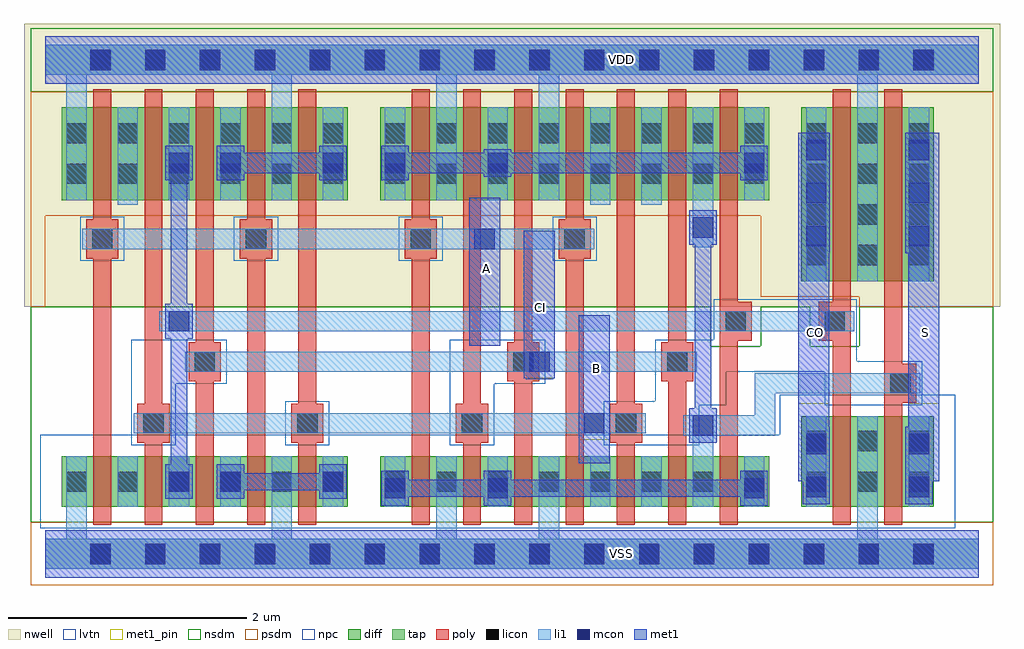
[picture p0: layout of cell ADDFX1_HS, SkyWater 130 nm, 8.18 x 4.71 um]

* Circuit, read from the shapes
.subckt ADDFX1_HS A B CI CO S VDD VSS
XM1 n1 A VSS VSS sky130_fd_pr__nfet_01v8_lvt w=0.425 l=0.15
XM2 n2 B n1 VSS sky130_fd_pr__nfet_01v8_lvt w=0.425 l=0.15
XM3 n3 CI n2 VSS sky130_fd_pr__nfet_01v8_lvt w=0.425 l=0.15
XM4 VSS A n3 VSS sky130_fd_pr__nfet_01v8_lvt w=0.425 l=0.15
XM5 n3 B VSS VSS sky130_fd_pr__nfet_01v8_lvt w=0.425 l=0.15
XM6 VSS A n4 VSS sky130_fd_pr__nfet_01v8_lvt w=0.425 l=0.15
XM7 n4 B VSS VSS sky130_fd_pr__nfet_01v8_lvt w=0.425 l=0.15
XM8 VSS CI n4 VSS sky130_fd_pr__nfet_01v8_lvt w=0.425 l=0.15
XM9 n5 A VSS VSS sky130_fd_pr__nfet_01v8_lvt w=0.425 l=0.15
XM10 n6 B n5 VSS sky130_fd_pr__nfet_01v8_lvt w=0.425 l=0.15
XM11 n7 CI n6 VSS sky130_fd_pr__nfet_01v8_lvt w=0.425 l=0.15
XM12 n4 n2 n7 VSS sky130_fd_pr__nfet_01v8_lvt w=0.425 l=0.15
XM13 VSS n2 CO VSS sky130_fd_pr__nfet_01v8_lvt w=0.76 l=0.15
XM14 S n7 VSS VSS sky130_fd_pr__nfet_01v8_lvt w=0.76 l=0.15
XM15 n8 A VDD VDD sky130_fd_pr__pfet_01v8 w=0.78 l=0.15
XM16 n2 B n8 VDD sky130_fd_pr__pfet_01v8 w=0.78 l=0.15
XM17 n9 CI n2 VDD sky130_fd_pr__pfet_01v8 w=0.78 l=0.15
XM18 VDD A n9 VDD sky130_fd_pr__pfet_01v8 w=0.78 l=0.15
XM19 n9 B VDD VDD sky130_fd_pr__pfet_01v8 w=0.78 l=0.15
XM20 VDD A n10 VDD sky130_fd_pr__pfet_01v8 w=0.78 l=0.15
XM21 n10 B VDD VDD sky130_fd_pr__pfet_01v8 w=0.78 l=0.15
XM22 VDD CI n10 VDD sky130_fd_pr__pfet_01v8 w=0.78 l=0.15
XM23 n11 A VDD VDD sky130_fd_pr__pfet_01v8 w=0.78 l=0.15
XM24 n12 B n11 VDD sky130_fd_pr__pfet_01v8 w=0.78 l=0.15
XM25 n7 CI n12 VDD sky130_fd_pr__pfet_01v8 w=0.78 l=0.15
XM26 n10 n2 n7 VDD sky130_fd_pr__pfet_01v8 w=0.78 l=0.15
XM27 VDD n2 CO VDD sky130_fd_pr__pfet_01v8 w=1.46 l=0.15
XM28 S n7 VDD VDD sky130_fd_pr__pfet_01v8 w=1.46 l=0.15
.ends

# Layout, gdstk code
import gdstk
lib = gdstk.Library(unit=1e-6, precision=1e-09)
def R(c, l, rs):  # rectangles x0, y0, x1, y1
    for r in rs: c.add(gdstk.rectangle(r[:2], r[2:], *l))
def A(c, l, x, y, w, h, nx, ny, dx, dy):  # array of equal rectangles
    R(c, l, [(x+i*dx, y+j*dy, x+i*dx+w, y+j*dy+h) for i in range(nx) for j in range(ny)])
def P(c, l, *ps):  # polygons
    for p in ps: c.add(gdstk.Polygon(p, *l))
nwell = (64, 20)
diff = (65, 20)
tap = (65, 44)
poly = (66, 20)
licon = (66, 44)
li1 = (67, 20)
mcon = (67, 44)
met1_pin = (68, 16)
met1 = (68, 20)
nsdm = (93, 44)
psdm = (94, 20)
npc = (95, 20)
lvtn = (125, 44)

l1m1_c_cdns_750721774070 = lib.new_cell('L1M1_C_CDNS_750721774070')
R(l1m1_c_cdns_750721774070, li1, [(-0.085,-0.145,0.085,0.165)])
R(l1m1_c_cdns_750721774070, mcon, [(-0.085,-0.085,0.085,0.085)])
R(l1m1_c_cdns_750721774070, met1, [(-0.115,-0.145,0.115,0.145)])

l1m1_c_cdns_750721774071 = lib.new_cell('L1M1_C_CDNS_750721774071')
R(l1m1_c_cdns_750721774071, li1, [(-0.085,-0.165,0.085,0.165)])
R(l1m1_c_cdns_750721774071, mcon, [(-0.085,-0.085,0.085,0.085)])
R(l1m1_c_cdns_750721774071, met1, [(-0.115,-0.115,0.115,0.115)])

l1m1_c_cdns_750721774072 = lib.new_cell('L1M1_C_CDNS_750721774072')
R(l1m1_c_cdns_750721774072, li1, [(-0.085,-0.165,0.085,0.165)])
R(l1m1_c_cdns_750721774072, mcon, [(-0.085,-0.085,0.085,0.085)])
R(l1m1_c_cdns_750721774072, met1, [(-0.115,-0.145,0.115,0.145)])

pyl1con_c_cdns_750721774 = lib.new_cell('PYL1CON_C_CDNS_750721774073')
R(pyl1con_c_cdns_750721774, poly, [(-0.135,-0.165,0.135,0.165)])
R(pyl1con_c_cdns_750721774, licon, [(-0.085,-0.085,0.085,0.085)])
R(pyl1con_c_cdns_750721774, npc, [(-0.185,-0.185,0.185,0.185)])

l1m1_c_cdns_750721774074 = lib.new_cell('L1M1_C_CDNS_750721774074')
R(l1m1_c_cdns_750721774074, li1, [(-0.165,-0.085,0.165,0.085)])
R(l1m1_c_cdns_750721774074, mcon, [(-0.085,-0.085,0.085,0.085)])
R(l1m1_c_cdns_750721774074, met1, [(-0.115,-0.145,0.115,0.145)])

licondiff_c_cdns_7507217 = lib.new_cell('LICONDIFF_C_CDNS_750721774075')
R(licondiff_c_cdns_7507217, diff, [(-0.125,-0.145,0.125,0.145)])
R(licondiff_c_cdns_7507217, licon, [(-0.085,-0.085,0.085,0.085), (-0.085,-0.085,0.085,0.085)])

l1m1_c_cdns_750721774076 = lib.new_cell('L1M1_C_CDNS_750721774076')
R(l1m1_c_cdns_750721774076, li1, [(-0.085,-0.345,0.085,0.345)])
R(l1m1_c_cdns_750721774076, mcon, [(-0.085,-0.265,0.085,-0.095), (-0.085,0.095,0.085,0.265)])
R(l1m1_c_cdns_750721774076, met1, [(-0.115,-0.325,0.115,0.325)])

l1m1_c_cdns_750721774077 = lib.new_cell('L1M1_C_CDNS_750721774077')
R(l1m1_c_cdns_750721774077, li1, [(-0.085,-0.525,0.085,0.525)])
A(l1m1_c_cdns_750721774077, mcon, -0.085, -0.445, 0.17, 0.17, 1, 3, 0, 0.36)
R(l1m1_c_cdns_750721774077, met1, [(-0.115,-0.505,0.115,0.505)])

addfx1_hs = lib.new_cell('ADDFX1_HS')
A(addfx1_hs, nwell, -0.045, 2.785, 1.04, 1.14, 3, 1, 0.86, 0)
R(addfx1_hs, nwell, [(-0.18,2.07,8,4.305), (6.155,2.105,7.195,3.925), (6.795,2.105,7.625,3.925), (0.595,2.785,1.385,3.925), (1.455,2.785,2.245,3.925), (2.625,2.785,3.665,3.925), (3.265,2.785,4.055,3.925), (3.485,2.785,4.485,3.925), (3.915,2.785,4.915,3.925), (4.345,2.785,5.385,3.925), (4.985,2.785,5.775,3.925), (5.205,2.785,6.245,3.925), (-0.18,3.875,8,4.445)])
A(addfx1_hs, diff, 0.4, 0.395, 0.15, 0.425, 5, 1, 0.43, 0)
A(addfx1_hs, diff, 0.995, 0.395, 0.265, 0.425, 3, 1, 0.43, 0)
A(addfx1_hs, diff, 3.07, 0.395, 0.15, 0.425, 7, 1, 0.43, 0)
A(addfx1_hs, diff, 0.4, 2.965, 0.15, 0.78, 5, 1, 0.43, 0)
A(addfx1_hs, diff, 3.07, 2.965, 0.15, 0.78, 7, 1, 0.43, 0)
A(addfx1_hs, diff, 3.65, 2.965, 0.225, 0.78, 3, 1, 0.43, 0)
A(addfx1_hs, diff, 3.665, 2.965, 0.265, 0.78, 3, 1, 0.43, 0)
R(addfx1_hs, diff, [(0.135,0.395,0.4,0.82), (0.55,0.395,0.815,0.82), (0.775,0.395,0.83,0.82), (0.98,0.395,1.035,0.82), (1.41,0.395,1.635,0.82), (1.84,0.395,2.065,0.82), (2.27,0.395,2.535,0.82), (2.805,0.395,3.07,0.82), (3.22,0.395,3.485,0.82), (3.445,0.395,3.5,0.82), (3.65,0.395,3.705,0.82), (3.665,0.395,3.93,0.82), (4.08,0.395,4.305,0.82), (4.095,0.395,4.36,0.82), (4.51,0.395,4.775,0.82), (4.565,0.395,4.79,0.82), (4.94,0.395,5.165,0.82), (4.955,0.395,5.22,0.82), (5.37,0.395,5.635,0.82), (5.595,0.395,5.65,0.82), (5.8,0.395,6.065,0.82), (6.335,0.395,6.6,1.155), (6.6,0.395,6.75,1.155), (6.75,0.395,6.975,1.155), (6.765,0.395,7.03,1.155), (7.03,0.395,7.18,1.155), (7.18,0.395,7.445,1.155), (6.335,2.285,6.6,3.745), (6.6,2.285,6.75,3.745), (6.75,2.285,7.015,3.745), (6.975,2.285,7.03,3.745), (7.03,2.285,7.18,3.745), (7.18,2.285,7.445,3.745), (0.135,2.965,0.4,3.745), (0.55,2.965,0.815,3.745), (0.775,2.965,0.83,3.745), (0.98,2.965,1.205,3.745), (0.995,2.965,1.26,3.745), (1.41,2.965,1.675,3.745), (1.635,2.965,1.69,3.745), (1.84,2.965,2.065,3.745), (1.855,2.965,2.12,3.745), (2.27,2.965,2.535,3.745), (2.805,2.965,3.07,3.745), (3.22,2.965,3.485,3.745), (3.445,2.965,3.5,3.745), (4.94,2.965,5.205,3.745), (5.165,2.965,5.22,3.745), (5.37,2.965,5.595,3.745), (5.385,2.965,5.65,3.745), (5.8,2.965,6.065,3.745)])
A(addfx1_hs, poly, 0.4, 0.245, 0.15, 0.055, 5, 2, 0.43, 0.67)
A(addfx1_hs, poly, 3.07, 0.245, 0.15, 0.055, 7, 2, 0.43, 0.67)
A(addfx1_hs, poly, 0.4, 0.3, 0.15, 0.095, 5, 2, 0.43, 0.52)
A(addfx1_hs, poly, 3.07, 0.3, 0.15, 0.095, 7, 2, 0.43, 0.52)
A(addfx1_hs, poly, 0.4, 0.395, 0.15, 0.425, 5, 1, 0.43, 0)
A(addfx1_hs, poly, 3.07, 0.395, 0.15, 0.425, 7, 1, 0.43, 0)
A(addfx1_hs, poly, 4.79, 2.815, 0.15, 0.055, 3, 1, 0.43, 0)
A(addfx1_hs, poly, 0.4, 2.87, 0.15, 0.095, 5, 2, 0.43, 0.875)
A(addfx1_hs, poly, 3.07, 2.87, 0.15, 0.095, 7, 2, 0.43, 0.875)
A(addfx1_hs, poly, 0.4, 2.965, 0.15, 0.78, 5, 1, 0.43, 0)
A(addfx1_hs, poly, 3.07, 2.965, 0.15, 0.78, 7, 1, 0.43, 0)
A(addfx1_hs, poly, 0.4, 3.84, 0.15, 0.055, 5, 1, 0.43, 0)
A(addfx1_hs, poly, 3.07, 3.84, 0.15, 0.055, 7, 1, 0.43, 0)
R(addfx1_hs, poly, [(6.6,0.245,6.75,0.3), (7.03,0.245,7.18,0.3), (6.6,0.3,6.75,0.395), (7.03,0.3,7.18,0.395), (6.6,0.395,6.75,1.155), (7.03,0.395,7.18,1.155), (6.6,1.155,6.75,1.25), (7.03,1.155,7.18,1.25), (6.6,1.25,6.75,1.305), (7.03,1.25,7.18,1.305), (6.6,2.135,6.75,2.19), (7.03,2.135,7.18,2.19), (6.6,2.19,6.75,2.285), (7.03,2.19,7.18,2.285), (6.6,2.285,6.75,3.745), (7.03,2.285,7.18,3.745), (0.4,2.805,0.55,2.87), (1.69,2.805,1.84,2.87), (3.07,2.805,3.22,2.87), (4.36,2.805,4.51,2.87), (0.83,2.815,0.98,2.87), (1.26,2.815,1.41,2.87), (2.12,2.815,2.27,2.87), (3.5,2.815,3.65,2.87), (3.93,2.815,4.08,2.87), (6.6,3.745,6.75,3.84), (7.03,3.745,7.18,3.84), (6.6,3.84,6.75,3.895), (7.03,3.84,7.18,3.895)])
A(addfx1_hs, licon, 0.375, -0.085, 0.17, 0.17, 16, 2, 0.46, 4.14)
A(addfx1_hs, licon, 0.175, 0.52, 0.17, 0.17, 4, 1, 0.43, 0)
A(addfx1_hs, licon, 2.845, 0.52, 0.17, 0.17, 4, 1, 0.43, 0)
A(addfx1_hs, licon, 4.135, 0.52, 0.17, 0.17, 5, 1, 0.43, 0)
A(addfx1_hs, licon, 6.375, 2.42, 0.17, 0.17, 3, 4, 0.43, 0.34)
A(addfx1_hs, licon, 0.175, 3.1, 0.17, 0.17, 3, 2, 0.43, 0.34)
A(addfx1_hs, licon, 1.035, 3.1, 0.17, 0.17, 3, 2, 0.43, 0.34)
A(addfx1_hs, licon, 2.845, 3.1, 0.17, 0.17, 3, 2, 0.43, 0.34)
A(addfx1_hs, licon, 4.135, 3.1, 0.17, 0.17, 4, 2, 0.43, 0.34)
R(addfx1_hs, licon, [(1.465,0.52,1.635,0.69), (1.895,0.52,2.065,0.69), (1.895,0.52,2.065,0.69), (2.325,0.52,2.495,0.69), (6.375,0.52,6.545,0.69), (6.805,0.52,6.975,0.69), (6.805,0.52,6.975,0.69), (7.235,0.52,7.405,0.69), (6.375,0.86,6.545,1.03), (6.805,0.86,6.975,1.03), (6.805,0.86,6.975,1.03), (7.235,0.86,7.405,1.03), (1.895,3.1,2.065,3.27), (2.325,3.1,2.495,3.27), (3.705,3.1,3.875,3.27), (4.135,3.1,4.305,3.27), (5.425,3.1,5.595,3.27), (5.855,3.1,6.025,3.27), (1.895,3.44,2.065,3.61), (2.325,3.44,2.495,3.61), (3.705,3.44,3.875,3.61), (4.135,3.44,4.305,3.61), (5.425,3.44,5.595,3.61), (5.855,3.44,6.025,3.61)])
A(addfx1_hs, li1, 0.175, 0.395, 0.17, 0.425, 4, 1, 0.43, 0)
A(addfx1_hs, li1, 2.845, 0.395, 0.17, 0.425, 4, 1, 0.43, 0)
A(addfx1_hs, li1, 4.135, 0.395, 0.17, 0.425, 5, 1, 0.43, 0)
A(addfx1_hs, li1, 6.375, 2.285, 0.17, 1.46, 3, 1, 0.43, 0)
A(addfx1_hs, li1, 0.175, 2.965, 0.17, 0.78, 3, 1, 0.43, 0)
A(addfx1_hs, li1, 1.035, 2.965, 0.17, 0.78, 3, 1, 0.43, 0)
A(addfx1_hs, li1, 2.845, 2.965, 0.17, 0.78, 3, 1, 0.43, 0)
A(addfx1_hs, li1, 4.135, 2.965, 0.17, 0.78, 4, 1, 0.43, 0)
R(addfx1_hs, li1, [(1.465,0.395,1.635,0.82), (1.895,0.395,2.065,0.82), (1.895,0.395,2.065,0.82), (2.325,0.395,2.495,0.82), (6.375,0.395,6.545,1.155), (6.805,0.395,6.975,1.155), (6.805,0.395,6.975,1.155), (7.235,0.395,7.405,1.155), (1.895,2.965,2.065,3.745), (2.325,2.965,2.495,3.745), (3.705,2.965,3.875,3.745), (4.135,2.965,4.305,3.745), (5.425,2.965,5.595,3.745), (5.855,2.965,6.025,3.745)])
A(addfx1_hs, mcon, 0.375, -0.085, 0.17, 0.17, 16, 2, 0.46, 4.14)
R(addfx1_hs, met1_pin, [(4.47,0.955,4.73,2), (6.31,1.26,6.57,3.53), (7.23,1.26,7.49,3.53), (4.01,1.47,4.27,2.71), (3.55,1.745,3.81,2.985)])
R(addfx1_hs, nsdm, [(-0.005,0.265,0.955,0.95), (0.765,0.265,1.045,0.95), (0.855,0.265,1.645,0.95), (1.285,0.265,2.075,0.95), (1.715,0.265,2.675,0.95), (2.665,0.265,3.625,0.95), (3.435,0.265,3.715,0.95), (3.525,0.265,4.315,0.95), (3.955,0.265,4.915,0.95), (4.555,0.265,5.175,0.95), (4.815,0.265,5.775,0.95), (5.585,0.265,6.205,0.95), (6.195,0.265,6.985,1.285), (6.625,0.265,7.585,1.285), (-0.125,3.875,7.945,4.405), (-0.125,3.93,7.945,4.35)])
P(addfx1_hs, nsdm, [(7.945,2.07),(6.82,2.07),(6.82,1.74),(6.41,1.74),(6.41,2.07),(5.995,2.07),(5.995,1.74),(5.575,1.74),(5.575,2.07),(-0.125,2.07),(-0.125,0.265),(7.945,0.265)])
A(addfx1_hs, psdm, -0.005, 2.835, 0.96, 1.04, 3, 1, 0.86, 0)
R(addfx1_hs, psdm, [(-0.125,-0.265,7.945,0.265), (-0.125,-0.21,7.945,0.21), (6.195,2.155,7.155,3.875), (6.965,2.155,7.585,3.875), (0.765,2.835,1.215,3.875), (1.625,2.835,2.075,3.875), (2.665,2.835,3.625,3.875), (3.435,2.835,3.885,3.875), (3.525,2.835,4.315,3.875), (3.955,2.835,4.745,3.875), (4.385,2.835,5.345,3.875), (5.155,2.835,5.605,3.875), (5.245,2.835,6.205,3.875)])
P(addfx1_hs, psdm, [(7.945,3.875),(-0.125,3.875),(-0.125,2.07),(0,2.07),(0,2.835),(5.995,2.835),(5.995,2.155),(6.82,2.155),(6.82,2.07),(7.945,2.07)])
P(addfx1_hs, npc, [(4.19,1.795),(3.39,1.795),(3.39,0.91),(3.76,0.91),(3.76,1.425),(4.19,1.425)],
  [(7.35,1.615),(6.8,1.615),(6.8,2.135),(5.6,2.135),(5.6,1.795),(5.11,1.795),(5.11,1.28),(4.68,1.28),(4.68,0.91),(5.48,0.91),(5.48,1.245),(5.705,1.245),(5.705,1.525),(6.53,1.525),(6.53,1.245),(7.35,1.245)],
  [(1.52,1.795),(0.72,1.795),(0.72,0.91),(1.09,0.91),(1.09,1.425),(1.52,1.425)])
R(addfx1_hs, lvtn, [(-0.045,0.215,0.995,1), (0.595,0.215,1.215,1), (0.815,0.215,1.815,1), (1.245,0.215,2.245,1), (1.675,0.215,2.715,1), (2.625,0.215,3.665,1), (3.265,0.215,3.885,1), (3.485,0.215,4.485,1), (3.915,0.215,4.955,1), (4.385,0.215,5.345,1), (4.775,0.215,5.815,1), (5.415,0.215,6.245,1), (6.155,0.215,7.155,1.335), (6.585,0.215,7.625,1.335)])
addfx1_hs.add(gdstk.FlexPath([(7.105,2.135),(7.105,1.145)], 0.15, ends="flush", simple_path=True, layer=66, datatype=20))  # poly
addfx1_hs.add(gdstk.FlexPath([(6.675,2.135),(6.675,1.305)], 0.15, ends="flush", simple_path=True, layer=66, datatype=20))  # poly
addfx1_hs.add(gdstk.FlexPath([(5.725,2.815),(5.725,0.97)], 0.15, ends="flush", simple_path=True, layer=66, datatype=20))  # poly
addfx1_hs.add(gdstk.FlexPath([(5.295,0.97),(5.295,2.815)], 0.15, ends="flush", simple_path=True, layer=66, datatype=20))  # poly
addfx1_hs.add(gdstk.FlexPath([(4.865,2.815),(4.865,1.165)], 0.15, ends="flush", simple_path=True, layer=66, datatype=20))  # poly
addfx1_hs.add(gdstk.FlexPath([(4.435,0.97),(4.435,2.775)], 0.15, ends="flush", simple_path=True, layer=66, datatype=20))  # poly
addfx1_hs.add(gdstk.FlexPath([(4.005,2.815),(4.005,0.97)], 0.15, ends="flush", simple_path=True, layer=66, datatype=20))  # poly
addfx1_hs.add(gdstk.FlexPath([(3.575,2.815),(3.575,1.165)], 0.15, ends="flush", simple_path=True, layer=66, datatype=20))  # poly
addfx1_hs.add(gdstk.FlexPath([(3.145,0.97),(3.145,2.775)], 0.15, ends="flush", simple_path=True, layer=66, datatype=20))  # poly
addfx1_hs.add(gdstk.FlexPath([(2.195,2.815),(2.195,1.165)], 0.15, ends="flush", simple_path=True, layer=66, datatype=20))  # poly
addfx1_hs.add(gdstk.FlexPath([(1.765,0.97),(1.765,2.775)], 0.15, ends="flush", simple_path=True, layer=66, datatype=20))  # poly
addfx1_hs.add(gdstk.FlexPath([(1.335,2.815),(1.335,0.97)], 0.15, ends="flush", simple_path=True, layer=66, datatype=20))  # poly
addfx1_hs.add(gdstk.FlexPath([(0.905,2.815),(0.905,1.165)], 0.15, ends="flush", simple_path=True, layer=66, datatype=20))  # poly
addfx1_hs.add(gdstk.FlexPath([(0.475,2.775),(0.475,0.97)], 0.15, ends="flush", simple_path=True, layer=66, datatype=20))  # poly
addfx1_hs.add(gdstk.FlexPath([(4.22,0),(6.89,0)], 0.25, ends=(0.085, 0.085), simple_path=True, layer=67, datatype=20))  # li1
addfx1_hs.add(gdstk.FlexPath([(6.89,0.59),(6.89,0)], 0.17, ends=(0, 0.125), simple_path=True, layer=67, datatype=20))  # li1
addfx1_hs.add(gdstk.FlexPath([(3.36,0),(4.22,0)], 0.25, ends=(0.085, 0.085), simple_path=True, layer=67, datatype=20))  # li1
addfx1_hs.add(gdstk.FlexPath([(4.22,0.59),(4.22,0)], 0.17, ends=(0, 0.125), simple_path=True, layer=67, datatype=20))  # li1
addfx1_hs.add(gdstk.FlexPath([(6.89,0),(7.82,0)], 0.25, ends=(0.085, 0), simple_path=True, layer=67, datatype=20))  # li1
addfx1_hs.add(gdstk.FlexPath([(0,4.14),(7.82,4.14)], 0.25, ends="flush", simple_path=True, layer=67, datatype=20))  # li1
addfx1_hs.add(gdstk.FlexPath([(5.08,0.395),(5.08,0.82)], 0.17, ends="flush", simple_path=True, layer=67, datatype=20))  # li1
addfx1_hs.add(gdstk.FlexPath([(4.65,0.395),(4.65,0.82)], 0.17, ends="flush", simple_path=True, layer=67, datatype=20))  # li1
addfx1_hs.add(gdstk.FlexPath([(0.69,0.395),(0.69,0.82)], 0.17, ends="flush", simple_path=True, layer=67, datatype=20))  # li1
addfx1_hs.add(gdstk.FlexPath([(5.08,2.925),(5.08,3.55)], 0.17, ends="flush", simple_path=True, layer=67, datatype=20))  # li1
addfx1_hs.add(gdstk.FlexPath([(4.65,2.925),(4.65,3.55)], 0.17, ends="flush", simple_path=True, layer=67, datatype=20))  # li1
addfx1_hs.add(gdstk.FlexPath([(0.69,2.925),(0.69,3.55)], 0.17, ends="flush", simple_path=True, layer=67, datatype=20))  # li1
addfx1_hs.add(gdstk.FlexPath([(0.31,2.64),(4.6,2.64)], 0.17, ends="flush", simple_path=True, layer=67, datatype=20))  # li1
addfx1_hs.add(gdstk.FlexPath([(5.03,1.095),(0.74,1.095)], 0.17, ends="flush", simple_path=True, layer=67, datatype=20))  # li1
addfx1_hs.add(gdstk.FlexPath([(1.17,1.61),(5.46,1.61)], 0.17, ends="flush", simple_path=True, layer=67, datatype=20))  # li1
addfx1_hs.add(gdstk.FlexPath([(7.33,1.43),(6.03,1.43),(6.03,1.075),(5.51,1.075),(5.51,0.82)], 0.17, ends="flush", simple_path=True, layer=67, datatype=20))  # li1
addfx1_hs.add(gdstk.FlexPath([(6.78,1.95),(1.12,1.95)], 0.17, ends="flush", simple_path=True, layer=67, datatype=20))  # li1
addfx1_hs.add(gdstk.FlexPath([(5.51,2.735),(5.51,2.965)], 0.17, ends="flush", simple_path=True, layer=67, datatype=20))  # li1
addfx1_hs.add(gdstk.FlexPath([(0.26,3.55),(0.26,4.135)], 0.17, ends="flush", simple_path=True, layer=67, datatype=20))  # li1
addfx1_hs.add(gdstk.FlexPath([(1.98,3.55),(1.98,4.135)], 0.17, ends="flush", simple_path=True, layer=67, datatype=20))  # li1
addfx1_hs.add(gdstk.FlexPath([(3.36,3.55),(3.36,4.13)], 0.17, ends="flush", simple_path=True, layer=67, datatype=20))  # li1
addfx1_hs.add(gdstk.FlexPath([(4.22,3.55),(4.22,4.135)], 0.17, ends="flush", simple_path=True, layer=67, datatype=20))  # li1
addfx1_hs.add(gdstk.FlexPath([(6.89,3.55),(6.89,4.13)], 0.17, ends="flush", simple_path=True, layer=67, datatype=20))  # li1
addfx1_hs.add(gdstk.FlexPath([(3.36,0.59),(3.36,0)], 0.17, ends=(0, 0.125), simple_path=True, layer=67, datatype=20))  # li1
addfx1_hs.add(gdstk.FlexPath([(0.26,0),(1.98,0)], 0.25, ends=(0.085, 0.085), simple_path=True, layer=67, datatype=20))  # li1
addfx1_hs.add(gdstk.FlexPath([(1.98,0.59),(1.98,0)], 0.17, ends=(0, 0.125), simple_path=True, layer=67, datatype=20))  # li1
addfx1_hs.add(gdstk.FlexPath([(0,0),(0.26,0)], 0.25, ends=(0, 0.085), simple_path=True, layer=67, datatype=20))  # li1
addfx1_hs.add(gdstk.FlexPath([(0.26,0.59),(0.26,0)], 0.17, ends=(0, 0.125), simple_path=True, layer=67, datatype=20))  # li1
addfx1_hs.add(gdstk.FlexPath([(1.98,0),(3.36,0)], 0.25, ends=(0.085, 0.085), simple_path=True, layer=67, datatype=20))  # li1
addfx1_hs.add(gdstk.FlexPath([(1.05,3.275),(1.225,3.275)], 0.17, ends="flush", simple_path=True, layer=68, datatype=20))  # met1
addfx1_hs.add(gdstk.FlexPath([(0,0),(7.82,0)], 0.4, ends="flush", simple_path=True, layer=68, datatype=20))  # met1
addfx1_hs.add(gdstk.FlexPath([(0,4.14),(7.82,4.14)], 0.4, ends="flush", simple_path=True, layer=68, datatype=20))  # met1
addfx1_hs.add(gdstk.FlexPath([(3.68,2.985),(3.68,1.745)], 0.26, ends="flush", simple_path=True, layer=68, datatype=20))  # met1
addfx1_hs.add(gdstk.FlexPath([(4.14,1.47),(4.14,2.71)], 0.26, ends="flush", simple_path=True, layer=68, datatype=20))  # met1
addfx1_hs.add(gdstk.FlexPath([(6.44,0.61),(6.44,3.53)], 0.26, ends="flush", simple_path=True, layer=68, datatype=20))  # met1
addfx1_hs.add(gdstk.FlexPath([(5.51,1.205),(5.51,2.735)], 0.14, ends="flush", simple_path=True, layer=68, datatype=20))  # met1
addfx1_hs.add(gdstk.FlexPath([(1.12,0.605),(1.12,0.8)], 0.14, ends="flush", simple_path=True, layer=68, datatype=20))  # met1
addfx1_hs.add(gdstk.FlexPath([(1.12,0.8),(1.12,3.235)], 0.14, ends=(0, 0.085), simple_path=True, layer=68, datatype=20))  # met1
addfx1_hs.add(gdstk.FlexPath([(5.94,0.55),(2.93,0.55)], 0.14, ends="flush", simple_path=True, layer=68, datatype=20))  # met1
addfx1_hs.add(gdstk.FlexPath([(2.41,0.605),(1.55,0.605)], 0.14, ends="flush", simple_path=True, layer=68, datatype=20))  # met1
addfx1_hs.add(gdstk.FlexPath([(6,3.275),(2.82,3.275)], 0.17, ends="flush", simple_path=True, layer=68, datatype=20))  # met1
addfx1_hs.add(gdstk.FlexPath([(1.435,3.275),(2.525,3.275)], 0.17, ends="flush", simple_path=True, layer=68, datatype=20))  # met1
addfx1_hs.add(gdstk.FlexPath([(7.36,0.61),(7.36,3.53)], 0.26, ends="flush", simple_path=True, layer=68, datatype=20))  # met1
addfx1_hs.add(gdstk.FlexPath([(4.6,0.76),(4.6,2)], 0.26, ends="flush", simple_path=True, layer=68, datatype=20))  # met1
addfx1_hs.add(gdstk.FlexPath([(0,4.14),(7.82,4.14)], 0.4, ends="flush", simple_path=True, layer=68, datatype=16))  # met1_pin
addfx1_hs.add(gdstk.FlexPath([(0,0),(7.82,0)], 0.4, ends="flush", simple_path=True, layer=68, datatype=16))  # met1_pin
addfx1_hs.add(gdstk.FlexPath([(0,0),(7.82,0)], 0.25, ends="flush", simple_path=True, layer=65, datatype=44))  # tap
addfx1_hs.add(gdstk.FlexPath([(0,4.14),(7.82,4.14)], 0.25, ends="flush", simple_path=True, layer=65, datatype=44))  # tap
addfx1_hs.add(gdstk.Reference(l1m1_c_cdns_750721774070, (5.94,0.55)))
addfx1_hs.add(gdstk.Reference(l1m1_c_cdns_750721774070, (3.79,0.55)))
addfx1_hs.add(gdstk.Reference(l1m1_c_cdns_750721774070, (2.93,0.55)))
addfx1_hs.add(gdstk.Reference(l1m1_c_cdns_750721774071, (3.79,3.275)))
addfx1_hs.add(gdstk.Reference(l1m1_c_cdns_750721774072, (5.51,2.735)))
addfx1_hs.add(gdstk.Reference(l1m1_c_cdns_750721774072, (1.12,3.275)))
addfx1_hs.add(gdstk.Reference(l1m1_c_cdns_750721774072, (2.93,3.275)))
addfx1_hs.add(gdstk.Reference(l1m1_c_cdns_750721774072, (2.41,3.275)))
addfx1_hs.add(gdstk.Reference(l1m1_c_cdns_750721774072, (1.55,3.275)))
addfx1_hs.add(gdstk.Reference(l1m1_c_cdns_750721774072, (1.12,0.605)))
addfx1_hs.add(gdstk.Reference(l1m1_c_cdns_750721774072, (2.41,0.605)))
addfx1_hs.add(gdstk.Reference(l1m1_c_cdns_750721774072, (1.55,0.605)))
addfx1_hs.add(gdstk.Reference(l1m1_c_cdns_750721774072, (5.94,3.275)))
addfx1_hs.add(gdstk.Reference(pyl1con_c_cdns_750721774, (4.865,1.095), x_reflection=True))
addfx1_hs.add(gdstk.Reference(pyl1con_c_cdns_750721774, (3.575,1.095), x_reflection=True))
addfx1_hs.add(gdstk.Reference(pyl1con_c_cdns_750721774, (2.195,1.095), x_reflection=True))
addfx1_hs.add(gdstk.Reference(pyl1con_c_cdns_750721774, (0.905,1.095), x_reflection=True))
addfx1_hs.add(gdstk.Reference(pyl1con_c_cdns_750721774, (4.435,2.64), x_reflection=True))
addfx1_hs.add(gdstk.Reference(pyl1con_c_cdns_750721774, (3.145,2.64), x_reflection=True))
addfx1_hs.add(gdstk.Reference(pyl1con_c_cdns_750721774, (0.475,2.64), x_reflection=True))
addfx1_hs.add(gdstk.Reference(pyl1con_c_cdns_750721774, (1.765,2.64), x_reflection=True))
addfx1_hs.add(gdstk.Reference(pyl1con_c_cdns_750721774, (5.785,1.95), x_reflection=True))
addfx1_hs.add(gdstk.Reference(pyl1con_c_cdns_750721774, (4.005,1.61), x_reflection=True))
addfx1_hs.add(gdstk.Reference(pyl1con_c_cdns_750721774, (1.335,1.61), x_reflection=True))
addfx1_hs.add(gdstk.Reference(pyl1con_c_cdns_750721774, (6.615,1.95), x_reflection=True))
addfx1_hs.add(gdstk.Reference(pyl1con_c_cdns_750721774, (5.295,1.61), x_reflection=True))
addfx1_hs.add(gdstk.Reference(pyl1con_c_cdns_750721774, (7.165,1.43), x_reflection=True))
addfx1_hs.add(gdstk.Reference(l1m1_c_cdns_750721774074, (4.14,1.61), x_reflection=True))
addfx1_hs.add(gdstk.Reference(l1m1_c_cdns_750721774074, (1.12,1.95)))
addfx1_hs.add(gdstk.Reference(l1m1_c_cdns_750721774074, (5.51,1.075), x_reflection=True))
addfx1_hs.add(gdstk.Reference(l1m1_c_cdns_750721774074, (3.68,2.64)))
addfx1_hs.add(gdstk.Reference(l1m1_c_cdns_750721774074, (4.6,1.095), x_reflection=True))
addfx1_hs.add(gdstk.Reference(licondiff_c_cdns_7507217, (5.08,0.605)))
addfx1_hs.add(gdstk.Reference(licondiff_c_cdns_7507217, (4.65,0.605)))
addfx1_hs.add(gdstk.Reference(licondiff_c_cdns_7507217, (0.69,0.605)))
addfx1_hs.add(gdstk.Reference(l1m1_c_cdns_750721774076, (6.46,0.74)))
addfx1_hs.add(gdstk.Reference(l1m1_c_cdns_750721774076, (7.32,0.74)))
addfx1_hs.add(gdstk.Reference(l1m1_c_cdns_750721774077, (6.46,3.025)))
addfx1_hs.add(gdstk.Reference(l1m1_c_cdns_750721774077, (7.32,3.025)))
addfx1_hs.add(gdstk.Label('VDD', (4.825,4.145), layer=68, texttype=5))
addfx1_hs.add(gdstk.Label('A', (3.695,2.395), layer=68, texttype=5))
addfx1_hs.add(gdstk.Label('B', (4.615,1.55), layer=68, texttype=5))
addfx1_hs.add(gdstk.Label('CI', (4.145,2.065), layer=68, texttype=5))
addfx1_hs.add(gdstk.Label('CO', (6.455,1.855), layer=68, texttype=5))
addfx1_hs.add(gdstk.Label('S', (7.375,1.855), layer=68, texttype=5))
addfx1_hs.add(gdstk.Label('VSS', (4.825,0.005), layer=68, texttype=5))

lib.write_gds('ADDFX1_HS.gds')
